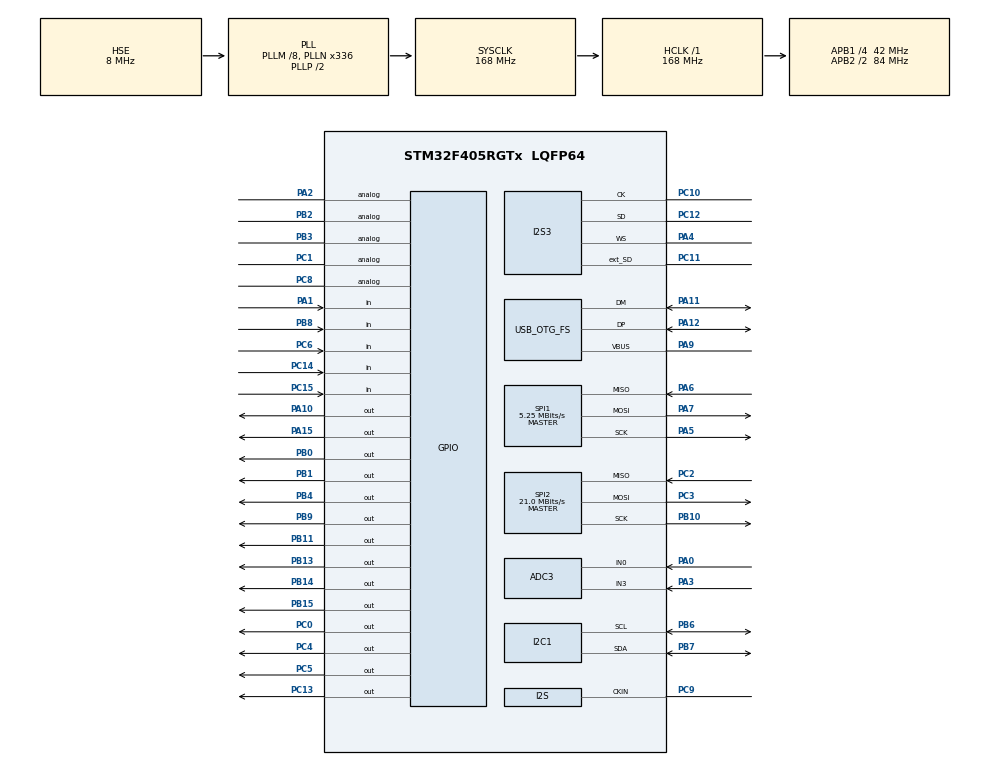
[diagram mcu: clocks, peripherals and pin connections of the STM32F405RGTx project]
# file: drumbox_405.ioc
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ADC3.Channel-1\#ChannelRegularConversion=ADC_CHANNEL_3
ADC3.NbrOfConversion=2
ADC3.Rank-1\#ChannelRegularConversion=2
Dma.I2C1_RX.0.Direction=DMA_PERIPH_TO_MEMORY
Dma.I2C1_RX.0.FIFOMode=DMA_FIFOMODE_DISABLE
Dma.I2C1_RX.0.Instance=DMA1_Stream5
Dma.I2C1_RX.0.MemDataAlignment=DMA_MDATAALIGN_BYTE
Dma.I2C1_RX.0.MemInc=DMA_MINC_ENABLE
Dma.I2C1_RX.0.Mode=DMA_NORMAL
Dma.I2C1_RX.0.PeriphDataAlignment=DMA_PDATAALIGN_BYTE
Dma.I2C1_RX.0.PeriphInc=DMA_PINC_DISABLE
Dma.I2C1_RX.0.Priority=DMA_PRIORITY_MEDIUM
Dma.Request0=I2C1_RX
Dma.Request1=SPI1_RX
Dma.Request2=SPI1_TX
Dma.SPI1_RX.1.Direction=DMA_PERIPH_TO_MEMORY
Dma.SPI1_RX.1.FIFOMode=DMA_FIFOMODE_DISABLE
Dma.SPI1_RX.1.Instance=DMA2_Stream0
Dma.SPI1_RX.1.MemDataAlignment=DMA_MDATAALIGN_BYTE
Dma.SPI1_RX.1.MemInc=DMA_MINC_ENABLE
Dma.SPI1_RX.1.Mode=DMA_NORMAL
Dma.SPI1_RX.1.PeriphDataAlignment=DMA_PDATAALIGN_BYTE
Dma.SPI1_RX.1.PeriphInc=DMA_PINC_DISABLE
Dma.SPI1_RX.1.Priority=DMA_PRIORITY_VERY_HIGH
Dma.SPI1_TX.2.Direction=DMA_MEMORY_TO_PERIPH
Dma.SPI1_TX.2.FIFOMode=DMA_FIFOMODE_DISABLE
Dma.SPI1_TX.2.Instance=DMA2_Stream3
Dma.SPI1_TX.2.MemDataAlignment=DMA_MDATAALIGN_BYTE
Dma.SPI1_TX.2.MemInc=DMA_MINC_ENABLE
Dma.SPI1_TX.2.Mode=DMA_NORMAL
Dma.SPI1_TX.2.PeriphDataAlignment=DMA_PDATAALIGN_BYTE
Dma.SPI1_TX.2.PeriphInc=DMA_PINC_DISABLE
Dma.SPI1_TX.2.Priority=DMA_PRIORITY_VERY_HIGH
I2S3.AudioFreq=I2S_AUDIOFREQ_192K
I2S3.ClockSource=I2S_CLOCK_EXTERNAL
I2S3.ErrorAudioFreq=- %
I2S3.FullDuplexMode=I2S_FULLDUPLEXMODE_ENABLE
I2S3.RealAudioFreq=- Hz
Mcu.Family=STM32F4
Mcu.Name=STM32F405RGTx
Mcu.Package=LQFP64
NVIC.ADC_IRQn=true\:0\:14\:false
NVIC.DMA1_Stream5_IRQn=true\:0\:8\:false
NVIC.DMA2_Stream0_IRQn=true\:0\:5\:false
NVIC.DMA2_Stream3_IRQn=true\:0\:7\:false
NVIC.HASH_RNG_IRQn=true\:0\:15\:true
NVIC.I2C1_ER_IRQn=true\:0\:15\:true
NVIC.I2C1_EV_IRQn=true\:0\:13\:true
NVIC.OTG_FS_IRQn=true\:0\:15\:true
NVIC.PriorityGroup=NVIC_PRIORITYGROUP_0
NVIC.RCC_IRQn=true\:0\:14\:true
NVIC.SPI1_IRQn=true\:0\:9\:true
PA0-WKUP.Signal=ADCx_IN0
PA1.Signal=GPIO_Input
PA10.Signal=GPIO_Output
PA11.Mode=Device_Only
PA11.Signal=USB_OTG_FS_DM
PA12.Mode=Device_Only
PA12.Signal=USB_OTG_FS_DP
PA13.Mode=Serial-Wire
PA13.Signal=SYS_JTMS-SWDIO
PA14.Mode=Serial-Wire
PA14.Signal=SYS_JTCK-SWCLK
PA15.Signal=GPIO_Output
PA2.Signal=GPIO_Analog
PA3.Signal=ADCx_IN3
PA4.Mode=Full_Duplex_Master
PA4.Signal=I2S3_WS
PA5.GPIO_Mode=GPIO_MODE_AF_PP
PA5.GPIO_PuPd=GPIO_NOPULL
PA5.GPIO_Speed=GPIO_SPEED_HIGH
PA5.Mode=Full_Duplex_Master
PA5.Signal=SPI1_SCK
PA6.GPIO_Mode=GPIO_MODE_AF_PP
PA6.GPIO_PuPd=GPIO_NOPULL
PA6.GPIO_Speed=GPIO_SPEED_HIGH
PA6.Mode=Full_Duplex_Master
PA6.Signal=SPI1_MISO
PA7.GPIO_Mode=GPIO_MODE_AF_PP
PA7.GPIO_PuPd=GPIO_NOPULL
PA7.GPIO_Speed=GPIO_SPEED_HIGH
PA7.Mode=Full_Duplex_Master
PA7.Signal=SPI1_MOSI
PA9.Mode=Activate_VBUS
PA9.Signal=USB_OTG_FS_VBUS
PB0.Signal=GPIO_Output
PB1.Signal=GPIO_Output
PB10.Mode=Full_Duplex_Master
PB10.Signal=SPI2_SCK
PB11.Signal=GPIO_Output
PB13.Signal=GPIO_Output
PB14.Signal=GPIO_Output
PB15.Signal=GPIO_Output
PB2.Signal=GPIO_Analog
PB3.Signal=GPIO_Analog
PB4.Signal=GPIO_Output
PB6.GPIO_Mode=GPIO_MODE_AF_OD
PB6.GPIO_PuPd=GPIO_NOPULL
PB6.GPIO_PuPdOD=GPIO_PULLUP
PB6.GPIO_Speed=GPIO_SPEED_LOW
PB6.Mode=I2C
PB6.Signal=I2C1_SCL
PB7.Mode=I2C
PB7.Signal=I2C1_SDA
PB8.Signal=GPIO_Input
PB9.Signal=GPIO_Output
PC0.Signal=GPIO_Output
PC1.Signal=GPIO_Analog
PC10.Mode=Full_Duplex_Master
PC10.Signal=I2S3_CK
PC11.Mode=Full_Duplex_Master
PC11.Signal=I2S3_ext_SD
PC12.Mode=Full_Duplex_Master
PC12.Signal=I2S3_SD
PC13-ANTI_TAMP.Signal=GPIO_Output
PC14-OSC32_IN.Signal=GPIO_Input
PC15-OSC32_OUT.Signal=GPIO_Input
PC2.Mode=Full_Duplex_Master
PC2.Signal=SPI2_MISO
PC3.Mode=Full_Duplex_Master
PC3.Signal=SPI2_MOSI
PC4.Signal=GPIO_Output
PC5.Signal=GPIO_Output
PC6.Signal=GPIO_Input
PC8.Signal=GPIO_Analog
PC9.Mode=Audio_ClockIn
PC9.Signal=I2S_CKIN
PH0-OSC_IN.Mode=HSE-External-Oscillator
PH0-OSC_IN.Signal=RCC_OSC_IN
PH1-OSC_OUT.Mode=HSE-External-Oscillator
PH1-OSC_OUT.Signal=RCC_OSC_OUT
ProjectManager.HeapSize=0x200
ProjectManager.StackSize=0x400
ProjectManager.TargetToolchain=MDK-ARM V4
RCC.48MHZClocksFreq_Value=48000000
RCC.AHBFreq_Value=168000000
RCC.APB1CLKDivider=RCC_HCLK_DIV4
RCC.APB1Freq_Value=42000000
RCC.APB1TimFreq_Value=84000000
RCC.APB2CLKDivider=RCC_HCLK_DIV2
RCC.APB2Freq_Value=84000000
RCC.APB2TimFreq_Value=168000000
RCC.CortexFreq_Value=168000000
RCC.HCLKFreq_Value=168000000
RCC.HSE_VALUE=8000000
RCC.HSI_VALUE=16000000
RCC.I2SClockSource=I2S_CLOCK_EXTERNAL
RCC.LSE_VALUE=32768
RCC.PLLM=8
RCC.PLLN=336
RCC.PLLQ=7
RCC.SYSCLKFreq_VALUE=168000000
RCC.SYSCLKSource=RCC_SYSCLKSOURCE_PLLCLK
RCC.VCOOutputFreq_Value=336000000
SH.ADCx_IN0.0=ADC3_IN0,IN0
SH.ADCx_IN3.0=ADC3_IN3,IN3
SPI1.BaudRatePrescaler=SPI_BAUDRATEPRESCALER_16
SPI1.CalculateBaudRate=5.25 MBits/s
SPI1.DataSize=SPI_DATASIZE_8BIT
SPI1.Mode=SPI_MODE_MASTER
SPI2.CalculateBaudRate=21.0 MBits/s
SPI2.Mode=SPI_MODE_MASTER
USB_DEVICE.CLASS_NAME-CDC_FS=CDC
USB_DEVICE.USBD_HandleTypeDef-CDC_FS=hUsbDeviceFS
USB_DEVICE.VirtualMode-CDC_FS=Cdc
USB_DEVICE.VirtualModeFS=Cdc_FS
USB_OTG_FS.VirtualMode=Device_Only
VP_RNG_VS_RNG.Mode=RNG_Activate
VP_USB_DEVICE_VS_USB_DEVICE_CDC_FS.Mode=CDC_FS
board=drumbox_405

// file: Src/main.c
/**
  ******************************************************************************
  * File Name          : main.c
  * Description        : Main program body
  ******************************************************************************
  *
  * COPYRIGHT(c) 2015 STMicroelectronics
  *
  * Redistribution and use in source and binary forms, with or without modification,
  * are permitted provided that the following conditions are met:
  *   1. Redistributions of source code must retain the above copyright notice,
  *      this list of conditions and the following disclaimer.
  *   2. Redistributions in binary form must reproduce the above copyright notice,
  *      this list of conditions and the following disclaimer in the documentation
  *      and/or other materials provided with the distribution.
  *   3. Neither the name of STMicroelectronics nor the names of its contributors
  *      may be used to endorse or promote products derived from this software
  *      without specific prior written permission.
  *
  * THIS SOFTWARE IS PROVIDED BY THE COPYRIGHT HOLDERS AND CONTRIBUTORS "AS IS"
  * AND ANY EXPRESS OR IMPLIED WARRANTIES, INCLUDING, BUT NOT LIMITED TO, THE
  * IMPLIED WARRANTIES OF MERCHANTABILITY AND FITNESS FOR A PARTICULAR PURPOSE ARE
  * DISCLAIMED. IN NO EVENT SHALL THE COPYRIGHT HOLDER OR CONTRIBUTORS BE LIABLE
  * FOR ANY DIRECT, INDIRECT, INCIDENTAL, SPECIAL, EXEMPLARY, OR CONSEQUENTIAL
  * DAMAGES (INCLUDING, BUT NOT LIMITED TO, PROCUREMENT OF SUBSTITUTE GOODS OR
  * SERVICES; LOSS OF USE, DATA, OR PROFITS; OR BUSINESS INTERRUPTION) HOWEVER
  * CAUSED AND ON ANY THEORY OF LIABILITY, WHETHER IN CONTRACT, STRICT LIABILITY,
  * OR TORT (INCLUDING NEGLIGENCE OR OTHERWISE) ARISING IN ANY WAY OUT OF THE USE
  * OF THIS SOFTWARE, EVEN IF ADVISED OF THE POSSIBILITY OF SUCH DAMAGE.
  *
  ******************************************************************************
  */

#include "stm32f4xx_hal.h"
#include "adc.h"
#include "dma.h"
#include "i2c.h"
#include "i2s.h"
#include "rng.h"
#include "spi.h"
#include "usb_device.h"
#include "gpio.h"

/* USER CODE BEGIN Includes */
#include "main.h"
/* USER CODE END Includes */

void SystemClock_Config(void);

/* USER CODE BEGIN 0 */

#include "waveplayer.h"

extern DMA_HandleTypeDef hdma_i2c1_tx;

void readExternalADC(void);
void Write7Seg(uint8_t value);
/* USER CODE END 0 */

int main(void)
{

  /* MCU Configuration----------------------------------------------------------*/

  /* Reset of all peripherals, Initializes the Flash interface and the Systick. */
  HAL_Init();

  /* Configure the system clock */
  SystemClock_Config();

  /* Initialize all configured peripherals */
  MX_GPIO_Init();

	/*********************
	I2C 1
     DMA1 RX S5,C1
     DMA1 TX S6,C1

	I2S (SPI3)
     DMA1 RX S0,C3
     DMA1 TX S7,C0

	SPI 1 (other chip)
     DMA2 RX S0,C3
     DMA2 TX S3,C3

	SPI 2 (other chip)
     DMA1 RX S3,C0
     DMA1 TX S4,C0
**********************/
	//hdma_i2c1_tx.XferCpltCallback = &DMA1_TransferCpltCallback;
	//hdma_i2c1_tx.XferHalfCpltCallback = &DMA1_HalfTransferCpltCallback;

  MX_DMA_Init();
  MX_I2C1_Init();
  MX_I2S3_Init();
	MX_SPI1_Init();
  MX_SPI2_Init();

	MX_ADC3_Init();
  MX_RNG_Init();
  MX_USB_DEVICE_Init();

  /* USER CODE BEGIN 2 */
	HAL_GPIO_WritePin(GPIOC, GPIO_PIN_13, GPIO_PIN_SET); // ADC CS pin should start high
	HAL_GPIO_WritePin(GPIOC, GPIO_PIN_4, GPIO_PIN_RESET); //CAT4016 Blank pin should always be low
	HAL_GPIO_WritePin(GPIOC, GPIO_PIN_5, GPIO_PIN_RESET); // CAT4016 Latch pin should start high ?
  HAL_GPIO_WritePin(GPIOC, GPIO_PIN_0, GPIO_PIN_SET); // Other STM32F4 IC CS pin (SYNTH1) should start high
	HAL_GPIO_WritePin(GPIOA, GPIO_PIN_5, GPIO_PIN_RESET); //Start SPI1 SCK low (why doesn't this work?)

  audioInit();

  /* USER CODE END 2 */

  /* Infinite loop */
  while (1)
  {

		;
  }
  /* USER CODE END 3 */

}

/** System Clock Configuration
*/
void SystemClock_Config(void)
{

  RCC_OscInitTypeDef RCC_OscInitStruct;
  RCC_ClkInitTypeDef RCC_ClkInitStruct;

  __PWR_CLK_ENABLE();

  __HAL_PWR_VOLTAGESCALING_CONFIG(PWR_REGULATOR_VOLTAGE_SCALE1);

  RCC_OscInitStruct.OscillatorType = RCC_OSCILLATORTYPE_HSE;
  RCC_OscInitStruct.HSEState = RCC_HSE_ON;
  RCC_OscInitStruct.PLL.PLLState = RCC_PLL_ON;
  RCC_OscInitStruct.PLL.PLLSource = RCC_PLLSOURCE_HSE;
  RCC_OscInitStruct.PLL.PLLM = 8;
  RCC_OscInitStruct.PLL.PLLN = 336;
  RCC_OscInitStruct.PLL.PLLP = RCC_PLLP_DIV2;
  RCC_OscInitStruct.PLL.PLLQ = 7;
  HAL_RCC_OscConfig(&RCC_OscInitStruct);

  RCC_ClkInitStruct.ClockType = RCC_CLOCKTYPE_SYSCLK|RCC_CLOCKTYPE_PCLK1
                              |RCC_CLOCKTYPE_PCLK2;
  RCC_ClkInitStruct.SYSCLKSource = RCC_SYSCLKSOURCE_PLLCLK;
  RCC_ClkInitStruct.AHBCLKDivider = RCC_SYSCLK_DIV1;
  RCC_ClkInitStruct.APB1CLKDivider = RCC_HCLK_DIV4;
  RCC_ClkInitStruct.APB2CLKDivider = RCC_HCLK_DIV2;
  HAL_RCC_ClockConfig(&RCC_ClkInitStruct, FLASH_LATENCY_5);

  HAL_SYSTICK_Config(HAL_RCC_GetHCLKFreq()/1000);

  HAL_SYSTICK_CLKSourceConfig(SYSTICK_CLKSOURCE_HCLK);

}

/* USER CODE BEGIN 4 */

void Write7Seg(uint8_t value)
{
	uint8_t Digits[2];
	Digits[0] = value % 10;
	Digits[1] = value / 10;

	HAL_GPIO_WritePin(GPIOB, GPIO_PIN_11, (GPIO_PinState)(Digits[0] & 1));
	HAL_GPIO_WritePin(GPIOB, GPIO_PIN_13, (GPIO_PinState)(Digits[0] & 2));
	HAL_GPIO_WritePin(GPIOB, GPIO_PIN_14, (GPIO_PinState)(Digits[0] & 4));
	HAL_GPIO_WritePin(GPIOB, GPIO_PIN_15, (GPIO_PinState)(Digits[0] & 8));

	HAL_GPIO_WritePin(GPIOB, GPIO_PIN_0, (GPIO_PinState)(Digits[1] & 1));
	HAL_GPIO_WritePin(GPIOB, GPIO_PIN_1, (GPIO_PinState)(Digits[1] & 2));
	HAL_GPIO_WritePin(GPIOB, GPIO_PIN_4, (GPIO_PinState)(Digits[1] & 4));
	HAL_GPIO_WritePin(GPIOB, GPIO_PIN_9, (GPIO_PinState)(Digits[1] & 8));

}

/* USER CODE END 4 */

/************************ (C) COPYRIGHT STMicroelectronics *****END OF FILE****/
